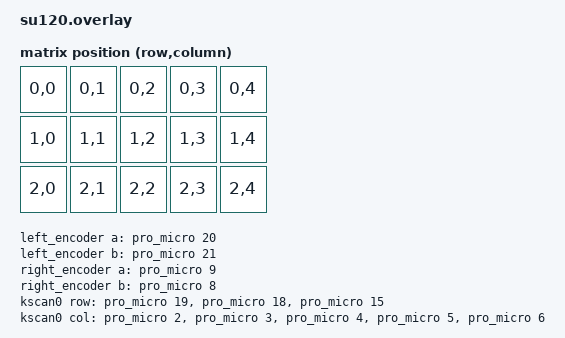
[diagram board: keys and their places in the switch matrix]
#include <dt-bindings/zmk/matrix_transform.h>

/ {
    chosen {
        zmk,kscan = &kscan0;
        zmk,matrix-transform = &default_transform;
    };

    left_encoder: encoder_left {
        compatible = "alps,ec11";
        a-gpios = <&pro_micro 20 (GPIO_ACTIVE_HIGH | GPIO_PULL_UP)>;  /* F5 */
        b-gpios = <&pro_micro 21 (GPIO_ACTIVE_HIGH | GPIO_PULL_UP)>;  /* F4 */
        steps = <80>;
        status = "okay";
    };

    right_encoder: encoder_right {
        compatible = "alps,ec11";
        a-gpios = <&pro_micro 9 (GPIO_ACTIVE_HIGH | GPIO_PULL_UP)>;   /* B5 */
        b-gpios = <&pro_micro 8 (GPIO_ACTIVE_HIGH | GPIO_PULL_UP)>;   /* B4 */
        steps = <80>;
        status = "okay";
    };

    sensors: sensors {
        compatible = "zmk,keymap-sensors";
        sensors = <&left_encoder &right_encoder>;
        triggers-per-rotation = <40>;
    };

    default_transform: keymap_transform_0 {
        compatible = "zmk,matrix-transform";
        columns = <5>;
        rows = <3>;
        map = <
            RC(0,0) RC(0,1) RC(0,2) RC(0,3) RC(0,4)
            RC(1,0) RC(1,1) RC(1,2) RC(1,3) RC(1,4)
            RC(2,0) RC(2,1) RC(2,2) RC(2,3) RC(2,4)
        >;
    };

    kscan0: kscan {
        compatible = "zmk,kscan-gpio-matrix";
        diode-direction = "col2row";
        wakeup-source;

        row-gpios
            = <&pro_micro 19 (GPIO_ACTIVE_HIGH | GPIO_PULL_DOWN)>  /* Y1 */
            , <&pro_micro 18 (GPIO_ACTIVE_HIGH | GPIO_PULL_DOWN)>  /* Y2 */
            , <&pro_micro 15 (GPIO_ACTIVE_HIGH | GPIO_PULL_DOWN)>  /* Y3 */
            ;

        col-gpios
            = <&pro_micro 2 GPIO_ACTIVE_HIGH>  /* X1 */
            , <&pro_micro 3 GPIO_ACTIVE_HIGH>  /* X2 */
            , <&pro_micro 4 GPIO_ACTIVE_HIGH>  /* X3 */
            , <&pro_micro 5 GPIO_ACTIVE_HIGH>  /* X4 */
            , <&pro_micro 6 GPIO_ACTIVE_HIGH>  /* X5 */
            ;
    };
};
